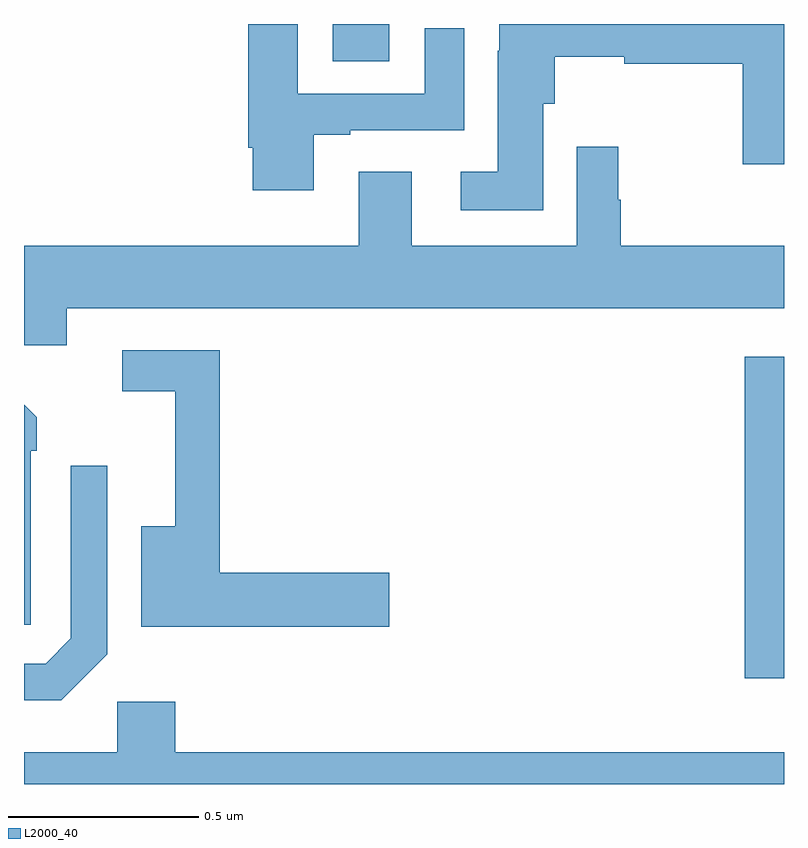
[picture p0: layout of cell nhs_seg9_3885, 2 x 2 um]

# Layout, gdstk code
import gdstk
lib = gdstk.Library(unit=1e-6, precision=1e-09)
def R(c, l, rs):  # rectangles x0, y0, x1, y1
    for r in rs: c.add(gdstk.rectangle(r[:2], r[2:], *l))
def P(c, l, *ps):  # polygons
    for p in ps: c.add(gdstk.Polygon(p, *l))
L2000_40 = (2000, 40)

nhs_seg9_3885 = lib.new_cell('nhs_seg9_3885')
R(nhs_seg9_3885, L2000_40, [(160.897,1196.778,161,1197.625), (159.812,1198.402,159.961,1198.5)])
P(nhs_seg9_3885, L2000_40, [(159.763,1198.209),(159.859,1198.209),(159.859,1198.221),(160.159,1198.221),(160.159,1198.489),(160.055,1198.489),(160.055,1198.317),(159.721,1198.317),(159.721,1198.5),(159.59,1198.5),(159.59,1198.174),(159.602,1198.174),(159.602,1198.062),(159.763,1198.062)],
  [(160.366,1198.29),(160.397,1198.29),(160.397,1198.414),(160.58,1198.414),(160.58,1198.396),(160.892,1198.396),(160.892,1198.131),(161,1198.131),(161,1198.5),(160.251,1198.5),(160.251,1198.43),(160.247,1198.43),(160.247,1198.111),(160.149,1198.111),(160.149,1198.01),(160.366,1198.01)],
  [(159.112,1197.752),(161,1197.752),(161,1197.916),(160.571,1197.916),(160.571,1198.038),(160.564,1198.038),(160.564,1198.177),(160.455,1198.177),(160.455,1197.916),(160.021,1197.916),(160.021,1198.111),(159.881,1198.111),(159.881,1197.916),(159,1197.916),(159,1197.654),(159.112,1197.654)],
  [(159.961,1197.056),(159.515,1197.056),(159.515,1197.642),(159.258,1197.642),(159.258,1197.534),(159.398,1197.534),(159.398,1197.178),(159.308,1197.178),(159.308,1196.914),(159.961,1196.914)],
  [(159.018,1197.377),(159.033,1197.377),(159.033,1197.465),(159,1197.498),(159,1196.919),(159.018,1196.919)],
  [(159.219,1196.841),(159.219,1197.337),(159.123,1197.337),(159.123,1196.883),(159.057,1196.817),(159,1196.817),(159,1196.72),(159.098,1196.72)],
  [(161,1196.584),(159.398,1196.584),(159.398,1196.716),(159.246,1196.716),(159.246,1196.584),(159,1196.584),(159,1196.5),(161,1196.5)])

lib.write_gds('nhs_seg9_3885.gds')
